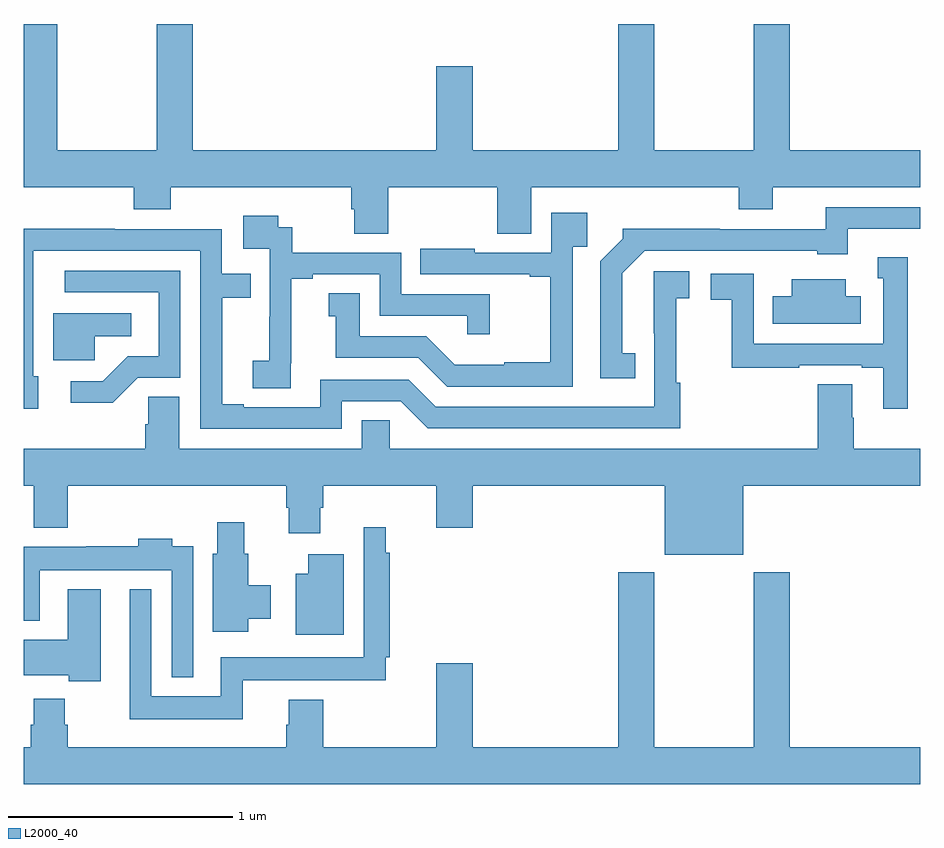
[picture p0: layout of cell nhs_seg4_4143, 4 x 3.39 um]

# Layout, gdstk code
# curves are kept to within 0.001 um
import gdstk
lib = gdstk.Library(unit=1e-6, precision=1e-09)
def P(c, l, *ps):  # polygons
    for p in ps: c.add(gdstk.Polygon(p, *l))
L2000_40 = (2000, 40)

nhs_seg4_4143 = lib.new_cell('nhs_seg4_4143')
P(nhs_seg4_4143, L2000_40, [(331.655,778.172),(332.462,778.172),(332.462,778.074),(332.474,778.074),(332.474,777.964),(332.627,777.964),(332.627,778.172),(333.113,778.172),(333.113,777.964),(333.265,777.964),(333.265,778.172),(334.19,778.172),(334.19,778.073),(334.342,778.073),(334.342,778.172),(335,778.172),(335,778.336),(334.418,778.336),(334.418,778.9),(334.258,778.9),(334.258,778.336),(333.813,778.336),(333.813,778.9),(333.653,778.9),(333.653,778.336),(333.004,778.336),(333.004,778.711),(332.84,778.711),(332.84,778.336),(331.754,778.336),(331.754,778.9),(331.594,778.9),(331.594,778.336),(331.149,778.336),(331.149,778.9),(331,778.9),(331,778.172),(331.49,778.172),(331.49,778.073),(331.655,778.073)],
  [(333.728,777.431),(333.67,777.431),(333.67,777.787),(333.771,777.888),(334.542,777.888),(334.542,777.872),(334.678,777.872),(334.678,777.987),(335,777.987),(335,778.083),(334.579,778.083),(334.579,777.984),(334.106,777.984),(334.106,777.986),(333.672,777.986),(333.672,777.941),(333.573,777.842),(333.573,777.318),(333.728,777.318)],
  [(333.45,777.905),(333.515,777.905),(333.515,778.057),(333.354,778.057),(333.354,777.879),(333.013,777.879),(333.013,777.898),(332.77,777.898),(332.77,777.783),(333.257,777.783),(333.257,777.771),(333.349,777.771),(333.349,777.391),(333.143,777.391),(333.143,777.379),(332.924,777.379),(332.796,777.507),(332.5,777.507),(332.5,777.698),(332.36,777.698),(332.36,777.595),(332.393,777.595),(332.393,777.411),(332.76,777.411),(332.889,777.282),(333.45,777.282)],
  [(332.192,777.385),(332.194,777.385),(332.194,777.763),(332.29,777.763),(332.29,777.783),(332.589,777.783),(332.589,777.597),(332.979,777.597),(332.979,777.516),(333.08,777.516),(333.08,777.693),(332.685,777.693),(332.685,777.879),(332.198,777.879),(332.198,777.993),(332.136,777.993),(332.136,778.045),(331.98,778.045),(331.98,777.897),(332.097,777.897),(332.097,777.593),(332.096,777.593),(332.096,777.396),(332.022,777.396),(332.022,777.274),(332.192,777.274)],
  [(332.418,777.216),(332.682,777.216),(332.802,777.096),(333.929,777.096),(333.929,777.299),(333.912,777.299),(333.912,777.675),(333.97,777.675),(333.97,777.796),(333.812,777.796),(333.813,777.192),(332.838,777.192),(332.718,777.312),(332.322,777.312),(332.322,777.189),(331.981,777.189),(331.981,777.204),(331.885,777.204),(331.885,777.678),(332.012,777.678),(332.012,777.786),(331.884,777.786),(331.884,777.984),(331.406,777.984),(331.406,777.986),(331,777.986),(331,777.183),(331.063,777.183),(331.063,777.327),(331.041,777.327),(331.041,777.888),(331.788,777.888),(331.788,777.093),(332.418,777.093)],
  [(334.945,777.859),(334.811,777.859),(334.811,777.765),(334.836,777.765),(334.836,777.474),(334.257,777.474),(334.257,777.786),(334.065,777.786),(334.065,777.67),(334.159,777.67),(334.159,777.366),(334.46,777.366),(334.46,777.378),(334.739,777.378),(334.739,777.366),(334.835,777.366),(334.835,777.183),(334.945,777.183)],
  [(331.509,777.321),(331.698,777.321),(331.698,777.798),(331.182,777.798),(331.182,777.702),(331.602,777.702),(331.602,777.417),(331.464,777.417),(331.353,777.306),(331.209,777.306),(331.209,777.209),(331.396,777.209)],
  [(334.735,777.685),(334.669,777.685),(334.669,777.76),(334.427,777.76),(334.427,777.685),(334.342,777.685),(334.342,777.563),(334.735,777.563)],
  [(331.317,777.506),(331.48,777.506),(331.48,777.61),(331.13,777.61),(331.13,777.399),(331.317,777.399)],
  [(332.634,777.131),(332.507,777.131),(332.507,777.004),(331.693,777.004),(331.693,777.236),(331.554,777.236),(331.554,777.113),(331.541,777.113),(331.541,777.004),(331,777.004),(331,776.84),(331.043,776.84),(331.043,776.651),(331.196,776.651),(331.196,776.84),(332.171,776.84),(332.171,776.742),(332.183,776.742),(332.183,776.628),(332.323,776.628),(332.323,776.742),(332.336,776.742),(332.336,776.84),(332.84,776.84),(332.84,776.652),(333.004,776.652),(333.004,776.84),(333.86,776.84),(333.86,776.531),(334.21,776.531),(334.21,776.84),(335,776.84),(335,777.004),(334.704,777.004),(334.704,777.143),(334.696,777.143),(334.696,777.293),(334.544,777.293),(334.544,777.004),(332.634,777.004)],
  [(332.002,776.246),(332.101,776.246),(332.101,776.394),(332.002,776.394),(332.002,776.535),(331.984,776.535),(331.984,776.677),(331.862,776.677),(331.862,776.535),(331.844,776.535),(331.844,776.187),(332.002,776.187)],
  [(331.976,775.97),(332.616,775.97),(332.616,776.074),(332.633,776.074),(332.633,776.54),(332.616,776.54),(332.616,776.653),(332.517,776.653),(332.517,776.074),(331.878,776.074),(331.878,775.9),(331.569,775.9),(331.569,776.377),(331.472,776.377),(331.472,775.796),(331.976,775.796)],
  [(331.755,776.569),(331.663,776.569),(331.663,776.602),(331.511,776.602),(331.511,776.569),(331.279,776.569),(331.279,776.566),(331,776.566),(331,776.237),(331.071,776.237),(331.071,776.462),(331.659,776.462),(331.659,775.985),(331.755,775.985)],
  [(332.428,776.533),(332.27,776.533),(332.27,776.446),(332.213,776.446),(332.213,776.174),(332.428,776.174)],
  [(335,775.672),(334.418,775.672),(334.418,776.452),(334.258,776.452),(334.258,775.672),(333.813,775.672),(333.813,776.452),(333.653,776.452),(333.653,775.672),(333.004,775.672),(333.004,776.047),(332.84,776.047),(332.84,775.672),(332.336,775.672),(332.336,775.885),(332.183,775.885),(332.183,775.773),(332.171,775.773),(332.171,775.672),(331.196,775.672),(331.196,775.772),(331.183,775.772),(331.183,775.888),(331.043,775.888),(331.043,775.772),(331.031,775.772),(331.031,775.672),(331,775.672),(331,775.508),(335,775.508)],
  [(331.342,776.377),(331.196,776.377),(331.196,776.152),(331,776.152),(331,775.994),(331.2,775.994),(331.2,775.967),(331.342,775.967)])

lib.write_gds('nhs_seg4_4143.gds')
